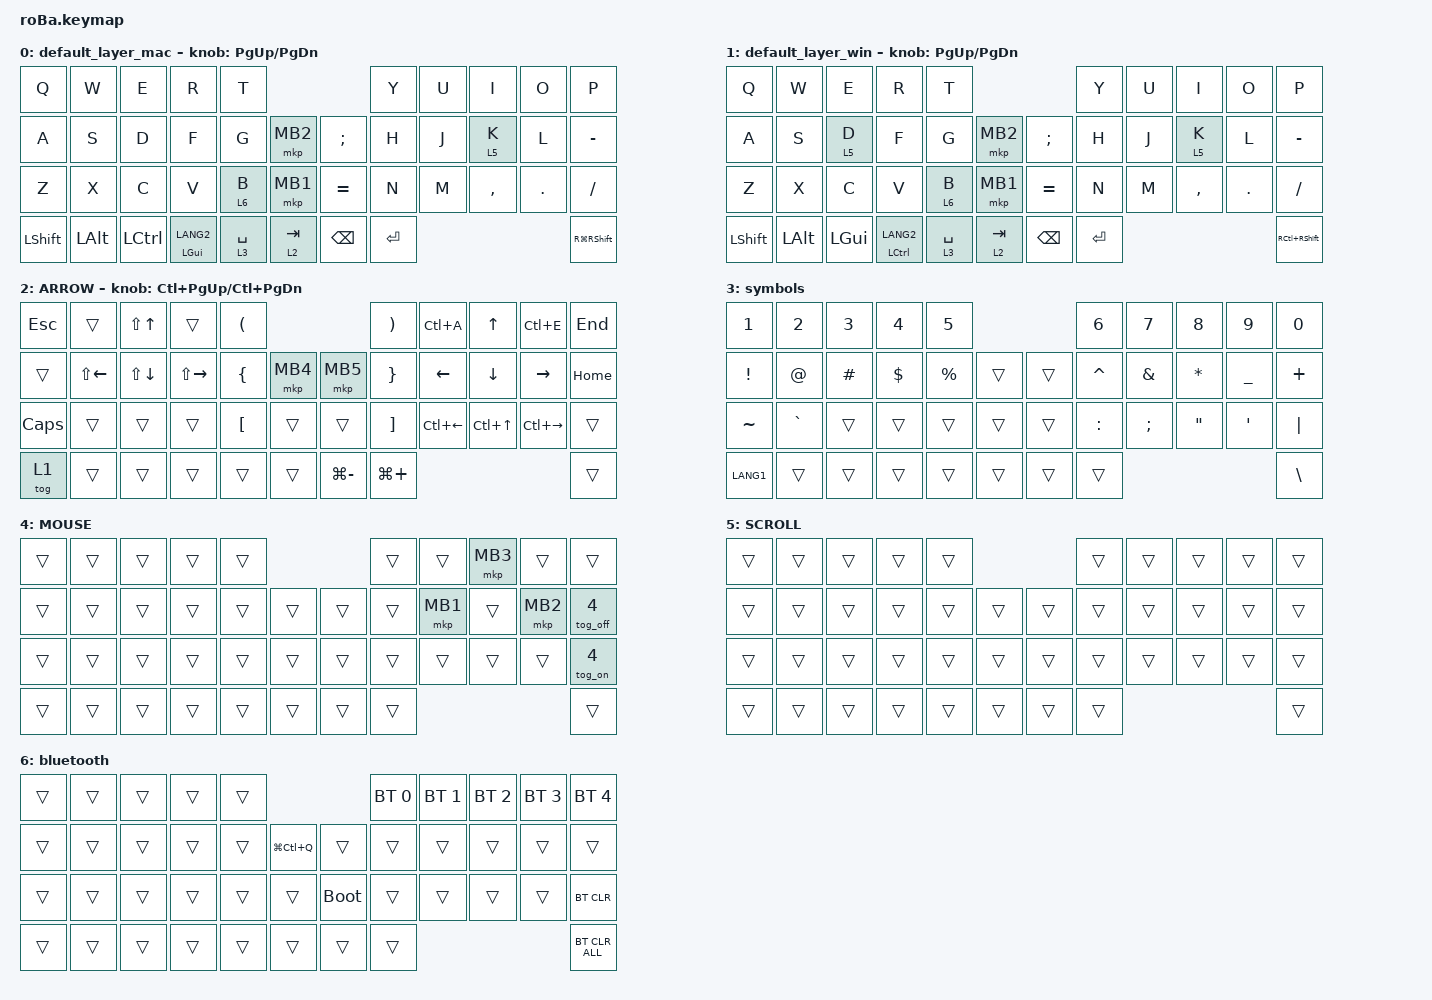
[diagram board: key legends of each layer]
#include <input/processors.dtsi>
#include <behaviors.dtsi>
#include <dt-bindings/zmk/bt.h>
#include <dt-bindings/zmk/keys.h>
#include <dt-bindings/zmk/pointing.h>

#define MOUSE_LAYER 4
#define AML_TIMEOUT_MS 20000
#define AML_IDLE_GUARD_MS 200

&mt {
    flavor = "balanced";
    quick-tap-ms = <0>;
};

&trackball {
    scroll-layers = <5>;

    // arrows {
    //     layers = <3>;
    //     bindings =
    //         <&kp RIGHT_ARROW>,
    //         <&kp LEFT_ARROW>,
    //         <&kp UP_ARROW>,
    //         <&kp DOWN_ARROW>;
    //     tick = <10>;
    //     wait-ms = <5>;
    //     tap-ms = <5>;
    // };
};

/ {
    input_processors {
        aml_temp_layer: aml_temp_layer {
            compatible = "zmk,input-processor-temp-layer";
            #input-processor-cells = <2>;
            require-prior-idle-ms = <AML_IDLE_GUARD_MS>;
            excluded-positions = <
                7  // MOUSE MB3
                15 // base MB2
                18 // MOUSE MB1
                20 // MOUSE MB2
                21 // MOUSE toggle off
                27 // base MB1
                30 // MOUSE MB4
                31 // MOUSE MB5
                33 // MOUSE toggle on
                34 // LEFT_SHIFT
            >;
        };
    };

    combos {
        compatible = "zmk,combos";

        change-lang1 {
            bindings = <&kp LANG1>;
            key-positions = <37 40>;
            layers = <1 0>;
        };
    };

    macros {
        to_layer_0: to_layer_0 {
            compatible = "zmk,behavior-macro-one-param";
            #binding-cells = <1>;
            bindings = <&to 0 &macro_param_1to1 &kp MACRO_PLACEHOLDER>;
            label = "TO_LAYER_0";
        };
    };

    behaviors {
        tog_on: toggle_layer_on {
            compatible = "zmk,behavior-toggle-layer";
            #binding-cells = <1>;
            toggle-mode = "on";
        };

        tog_off: toggle_layer_off {
            compatible = "zmk,behavior-toggle-layer";
            #binding-cells = <1>;
            toggle-mode = "off";
        };

        lt_to_layer_0: lt_to_layer_0 {
            compatible = "zmk,behavior-hold-tap";
            label = "LAYER_TAP_TO_0";
            bindings = <&mo>, <&to_layer_0>;

            #binding-cells = <2>;
            tapping-term-ms = <200>;
        };
    };

    keymap {
        compatible = "zmk,keymap";

        default_layer_mac {
            bindings = <
&kp Q           &kp W         &kp E             &kp R               &kp T                                      &kp Y       &kp U  &kp I      &kp O    &kp P
&kp A           &kp S         &kp D             &kp F               &kp G        &mkp MB2       &kp SEMICOLON  &kp H       &kp J  &lt 5 K    &kp L    &kp MINUS
&kp Z           &kp X         &kp C             &kp V               &lt 6 B      &mkp MB1       &kp EQUAL      &kp N       &kp M  &kp COMMA  &kp DOT  &kp SLASH
&kp LEFT_SHIFT  &kp LEFT_ALT  &kp LEFT_CONTROL  &mt LEFT_GUI LANG2  &lt 3 SPACE  &lt 2 TAB      &kp BACKSPACE  &kp RETURN                             &kp RG(RSHFT)
            >;

            sensor-bindings = <&inc_dec_kp PG_UP PAGE_DOWN>;
        };

        default_layer_win {
            bindings = <
&kp Q           &kp W         &kp E         &kp R                   &kp T                                      &kp Y       &kp U  &kp I      &kp O    &kp P
&kp A           &kp S         &lt 5 D       &kp F                   &kp G        &mkp MB2       &kp SEMICOLON  &kp H       &kp J  &lt 5 K    &kp L    &kp MINUS
&kp Z           &kp X         &kp C         &kp V                   &lt 6 B      &mkp MB1       &kp EQUAL      &kp N       &kp M  &kp COMMA  &kp DOT  &kp SLASH
&kp LEFT_SHIFT  &kp LEFT_ALT  &kp LEFT_GUI  &mt LEFT_CONTROL LANG2  &lt 3 SPACE  &lt 2 TAB      &kp BACKSPACE  &kp RETURN                             &kp RC(RSHFT)
            >;

            sensor-bindings = <&inc_dec_kp PG_UP PAGE_DOWN>;
        };

        ARROW {
            bindings = <
&kp ESCAPE    &trans        &kp LS(UP_ARROW)  &trans         &kp LEFT_PARENTHESIS                               &kp RIGHT_PARENTHESIS  &kp LC(A)           &kp UP_ARROW      &kp LC(E)            &kp END
&trans        &kp LS(LEFT)  &kp LS(DOWN)      &kp LS(RIGHT)  &kp LEFT_BRACE        &mkp MB4      &mkp MB5       &kp RIGHT_BRACE        &kp LEFT_ARROW      &kp DOWN_ARROW    &kp RIGHT_ARROW      &kp HOME
&kp CAPSLOCK  &trans        &trans            &trans         &kp LEFT_BRACKET      &trans        &trans         &kp RIGHT_BRACKET      &kp LC(LEFT_ARROW)  &kp LC(UP_ARROW)  &kp LC(RIGHT_ARROW)  &trans
&tog 1        &trans        &trans            &trans         &trans                &trans        &kp LG(MINUS)  &kp LG(PLUS)                                                                      &trans
            >;

            sensor-bindings = <&inc_dec_kp LC(PAGE_UP) LC(PAGE_DOWN)>;
        };

        symbols {
            bindings = <
&kp N1           &kp N2       &kp N3    &kp N4      &kp N5                           &kp N6     &kp N7         &kp N8             &kp N9            &kp N0
&kp EXCLAMATION  &kp AT_SIGN  &kp HASH  &kp DOLLAR  &kp PERCENT  &trans      &trans  &kp CARET  &kp AMPERSAND  &kp ASTERISK       &kp UNDERSCORE    &kp PLUS
&kp TILDE        &kp GRAVE    &trans    &trans      &trans       &trans      &trans  &kp COLON  &kp SEMICOLON  &kp DOUBLE_QUOTES  &kp SINGLE_QUOTE  &kp PIPE
&kp LANG1        &trans       &trans    &trans      &trans       &trans      &trans  &trans                                                         &kp BACKSLASH
            >;
        };

        MOUSE {
            bindings = <
&trans  &trans  &trans  &trans  &trans                      &trans  &trans    &mkp MB3  &trans    &trans
&trans  &trans  &trans  &trans  &trans  &trans      &trans  &trans  &mkp MB1  &trans    &mkp MB2  &tog_off 4
&trans  &trans  &trans  &trans  &trans  &trans      &trans  &trans  &trans    &trans    &trans    &tog_on 4
&trans  &trans  &trans  &trans  &trans  &trans      &trans  &trans                                &trans
            >;
        };

        SCROLL {
            bindings = <
&trans  &trans  &trans  &trans  &trans                      &trans  &trans  &trans  &trans  &trans
&trans  &trans  &trans  &trans  &trans  &trans      &trans  &trans  &trans  &trans  &trans  &trans
&trans  &trans  &trans  &trans  &trans  &trans      &trans  &trans  &trans  &trans  &trans  &trans
&trans  &trans  &trans  &trans  &trans  &trans      &trans  &trans                          &trans
            >;
        };

        bluetooth {
            bindings = <
&trans  &trans  &trans  &trans  &trans                                  &bt BT_SEL 0  &bt BT_SEL 1  &bt BT_SEL 2  &bt BT_SEL 3  &bt BT_SEL 4
&trans  &trans  &trans  &trans  &trans  &kp LG(LC(Q))      &trans       &trans        &trans        &trans        &trans        &trans
&trans  &trans  &trans  &trans  &trans  &trans             &bootloader  &trans        &trans        &trans        &trans        &bt BT_CLR
&trans  &trans  &trans  &trans  &trans  &trans             &trans       &trans                                                  &bt BT_CLR_ALL
            >;
        };
    };
};

&trackball_listener { input-processors = <&aml_temp_layer MOUSE_LAYER AML_TIMEOUT_MS>; };

&mkp_input_listener { input-processors = <&aml_temp_layer MOUSE_LAYER AML_TIMEOUT_MS>; };

&mmv_input_listener { input-processors = <&aml_temp_layer MOUSE_LAYER AML_TIMEOUT_MS>; };

&msc_input_listener { input-processors = <&aml_temp_layer MOUSE_LAYER AML_TIMEOUT_MS>; };
